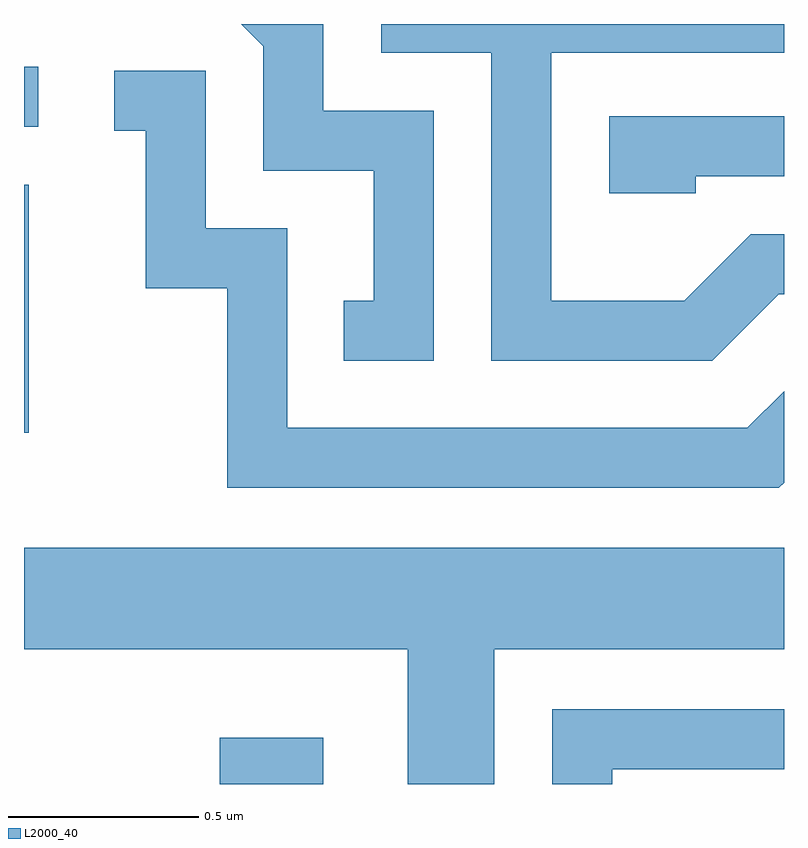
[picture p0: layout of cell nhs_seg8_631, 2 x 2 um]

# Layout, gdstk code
import gdstk
lib = gdstk.Library(unit=1e-6, precision=1e-09)
def R(c, l, rs):  # rectangles x0, y0, x1, y1
    for r in rs: c.add(gdstk.rectangle(r[:2], r[2:], *l))
def P(c, l, *ps):  # polygons
    for p in ps: c.add(gdstk.Polygon(p, *l))
L2000_40 = (2000, 40)

nhs_seg8_631 = lib.new_cell('nhs_seg8_631')
R(nhs_seg8_631, L2000_40, [(190.126,1889.342,190.398,1889.464), (189.611,1890.266,189.624,1890.919), (189.611,1891.071,189.648,1891.229)])
P(nhs_seg8_631, L2000_40, [(191.597,1890.631),(191.611,1890.631),(191.611,1890.789),(191.524,1890.789),(191.349,1890.614),(190.999,1890.614),(190.999,1891.266),(191.611,1891.266),(191.611,1891.342),(190.551,1891.342),(190.551,1891.266),(190.841,1891.266),(190.841,1890.456),(191.422,1890.456)],
  [(190.689,1891.114),(190.399,1891.114),(190.399,1891.342),(190.183,1891.342),(190.241,1891.284),(190.241,1890.956),(190.531,1890.956),(190.531,1890.614),(190.453,1890.614),(190.453,1890.456),(190.689,1890.456)],
  [(191.611,1890.135),(191.611,1890.376),(191.514,1890.279),(190.304,1890.279),(190.304,1890.804),(190.089,1890.804),(190.089,1891.219),(189.848,1891.219),(189.848,1891.061),(189.931,1891.061),(189.931,1890.646),(190.146,1890.646),(190.146,1890.121),(191.597,1890.121)],
  [(191.379,1890.941),(191.611,1890.941),(191.611,1891.099),(191.151,1891.099),(191.151,1890.896),(191.379,1890.896)],
  [(190.849,1889.696),(191.611,1889.696),(191.611,1889.964),(189.611,1889.964),(189.611,1889.696),(190.621,1889.696),(190.621,1889.342),(190.849,1889.342)],
  [(191.159,1889.381),(191.611,1889.381),(191.611,1889.539),(191.001,1889.539),(191.001,1889.342),(191.159,1889.342)])

lib.write_gds('nhs_seg8_631.gds')
